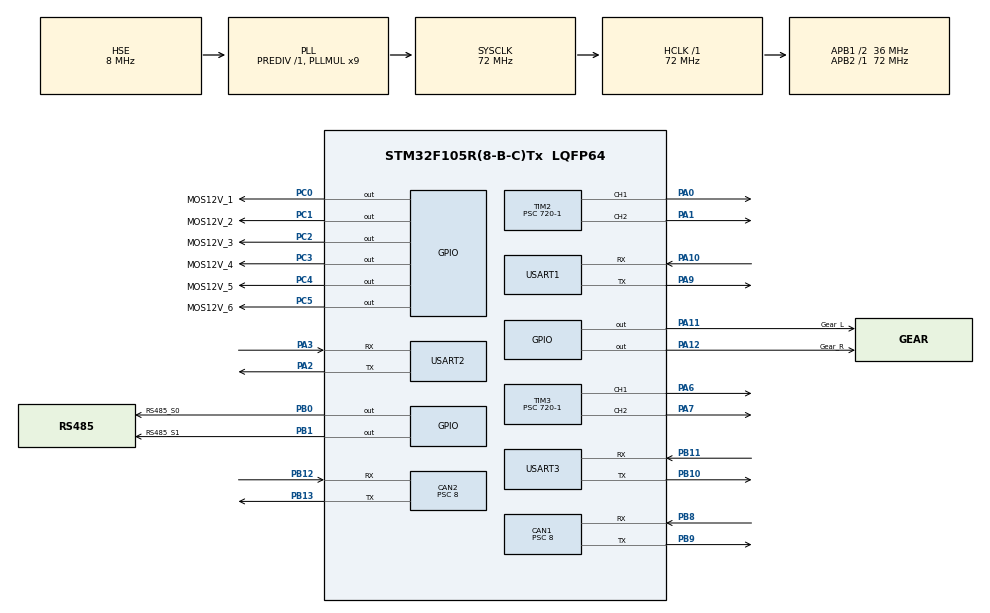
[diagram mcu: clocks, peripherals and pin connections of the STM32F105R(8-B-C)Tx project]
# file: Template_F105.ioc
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CAN1.BS1=CAN_BS1_5TQ
CAN1.BS2=CAN_BS2_3TQ
CAN1.CalculateBaudRate=500000
CAN1.CalculateTimeBit=2000
CAN1.CalculateTimeQuantum=222.22222222222223
CAN1.NART=ENABLE
CAN1.Prescaler=8
CAN2.BS1=CAN_BS1_5TQ
CAN2.BS2=CAN_BS2_3TQ
CAN2.CalculateBaudRate=500000
CAN2.CalculateTimeBit=2000
CAN2.CalculateTimeQuantum=222.22222222222223
CAN2.NART=ENABLE
CAN2.Prescaler=8
Dma.Request0=USART1_RX
Dma.Request1=USART2_RX
Dma.Request2=USART2_TX
Dma.Request3=USART3_RX
Dma.Request4=USART3_TX
Dma.USART1_RX.0.Direction=DMA_PERIPH_TO_MEMORY
Dma.USART1_RX.0.Instance=DMA1_Channel5
Dma.USART1_RX.0.MemDataAlignment=DMA_MDATAALIGN_BYTE
Dma.USART1_RX.0.MemInc=DMA_MINC_ENABLE
Dma.USART1_RX.0.Mode=DMA_CIRCULAR
Dma.USART1_RX.0.PeriphDataAlignment=DMA_PDATAALIGN_BYTE
Dma.USART1_RX.0.PeriphInc=DMA_PINC_DISABLE
Dma.USART1_RX.0.Priority=DMA_PRIORITY_LOW
Dma.USART2_RX.1.Direction=DMA_PERIPH_TO_MEMORY
Dma.USART2_RX.1.Instance=DMA1_Channel6
Dma.USART2_RX.1.MemDataAlignment=DMA_MDATAALIGN_BYTE
Dma.USART2_RX.1.MemInc=DMA_MINC_ENABLE
Dma.USART2_RX.1.Mode=DMA_CIRCULAR
Dma.USART2_RX.1.PeriphDataAlignment=DMA_PDATAALIGN_BYTE
Dma.USART2_RX.1.PeriphInc=DMA_PINC_DISABLE
Dma.USART2_RX.1.Priority=DMA_PRIORITY_LOW
Dma.USART2_TX.2.Direction=DMA_MEMORY_TO_PERIPH
Dma.USART2_TX.2.Instance=DMA1_Channel7
Dma.USART2_TX.2.MemDataAlignment=DMA_MDATAALIGN_BYTE
Dma.USART2_TX.2.MemInc=DMA_MINC_ENABLE
Dma.USART2_TX.2.Mode=DMA_NORMAL
Dma.USART2_TX.2.PeriphDataAlignment=DMA_PDATAALIGN_BYTE
Dma.USART2_TX.2.PeriphInc=DMA_PINC_DISABLE
Dma.USART2_TX.2.Priority=DMA_PRIORITY_LOW
Dma.USART3_RX.3.Direction=DMA_PERIPH_TO_MEMORY
Dma.USART3_RX.3.Instance=DMA1_Channel3
Dma.USART3_RX.3.MemDataAlignment=DMA_MDATAALIGN_BYTE
Dma.USART3_RX.3.MemInc=DMA_MINC_ENABLE
Dma.USART3_RX.3.Mode=DMA_CIRCULAR
Dma.USART3_RX.3.PeriphDataAlignment=DMA_PDATAALIGN_BYTE
Dma.USART3_RX.3.PeriphInc=DMA_PINC_DISABLE
Dma.USART3_RX.3.Priority=DMA_PRIORITY_LOW
Dma.USART3_TX.4.Direction=DMA_MEMORY_TO_PERIPH
Dma.USART3_TX.4.Instance=DMA1_Channel2
Dma.USART3_TX.4.MemDataAlignment=DMA_MDATAALIGN_BYTE
Dma.USART3_TX.4.MemInc=DMA_MINC_ENABLE
Dma.USART3_TX.4.Mode=DMA_NORMAL
Dma.USART3_TX.4.PeriphDataAlignment=DMA_PDATAALIGN_BYTE
Dma.USART3_TX.4.PeriphInc=DMA_PINC_DISABLE
Dma.USART3_TX.4.Priority=DMA_PRIORITY_LOW
FREERTOS.INCLUDE_eTaskGetState=1
FREERTOS.INCLUDE_pcTaskGetTaskName=1
FREERTOS.INCLUDE_uxTaskGetStackHighWaterMark=1
FREERTOS.INCLUDE_vTaskCleanUpResources=1
FREERTOS.INCLUDE_vTaskDelayUntil=1
FREERTOS.INCLUDE_xEventGroupSetBitFromISR=1
FREERTOS.INCLUDE_xQueueGetMutexHolder=1
FREERTOS.INCLUDE_xSemaphoreGetMutexHolder=1
FREERTOS.INCLUDE_xTaskAbortDelay=1
FREERTOS.INCLUDE_xTaskGetCurrentTaskHandle=1
FREERTOS.INCLUDE_xTaskGetHandle=1
FREERTOS.INCLUDE_xTimerPendFunctionCall=1
FREERTOS.Tasks01=chassis,1,512,chassis_task,As weak,NULL,Dynamic,NULL,NULL;detect,0,256,detect_task,As weak,NULL,Dynamic,NULL,NULL;Debug,0,256,Debug_task,As weak,NULL,Dynamic,NULL,NULL;HMI,0,256,HMI_task,As weak,NULL,Dynamic,NULL,NULL
FREERTOS.Timers01=Cycle_S,Cycle__sCallback,osTimerPeriodic,Default,NULL,Dynamic,NULL
FREERTOS.configTOTAL_HEAP_SIZE=8192
FREERTOS.configUSE_TIMERS=1
Mcu.Family=STM32F1
Mcu.Name=STM32F105R(8-B-C)Tx
Mcu.Package=LQFP64
NVIC.CAN1_RX0_IRQn=true\:5\:0\:false\:false\:true\:true\:true\:true\:true
NVIC.CAN2_RX0_IRQn=true\:5\:0\:false\:false\:true\:true\:true\:true\:true
NVIC.DMA1_Channel2_IRQn=true\:5\:0\:false\:false\:true\:true\:false\:true\:true
NVIC.DMA1_Channel3_IRQn=true\:5\:0\:false\:false\:true\:true\:false\:true\:true
NVIC.DMA1_Channel5_IRQn=true\:5\:0\:false\:false\:true\:true\:false\:true\:true
NVIC.DMA1_Channel6_IRQn=true\:5\:0\:false\:false\:true\:true\:false\:true\:true
NVIC.DMA1_Channel7_IRQn=true\:5\:0\:false\:false\:true\:true\:false\:true\:true
NVIC.PriorityGroup=NVIC_PRIORITYGROUP_4
NVIC.TIM6_IRQn=true\:15\:0\:false\:false\:true\:false\:false\:true\:true
NVIC.TimeBase=TIM6_IRQn
NVIC.TimeBaseIP=TIM6
NVIC.USART1_IRQn=true\:4\:0\:true\:false\:true\:false\:true\:true\:true
NVIC.USART2_IRQn=true\:5\:0\:false\:false\:true\:true\:true\:true\:true
NVIC.USART3_IRQn=true\:5\:0\:false\:false\:true\:true\:true\:true\:true
PA0-WKUP.Signal=S_TIM2_CH1_ETR
PA1.Signal=S_TIM2_CH2
PA10.Mode=Asynchronous
PA10.Signal=USART1_RX
PA11.GPIO_Label=Gear_L
PA11.GPIO_PuPd=GPIO_PULLDOWN
PA11.Signal=GPIO_Output
PA12.GPIO_Label=Gear_R
PA12.GPIO_PuPd=GPIO_PULLDOWN
PA12.Signal=GPIO_Output
PA13.Mode=Serial_Wire
PA13.Signal=SYS_JTMS-SWDIO
PA14.Mode=Serial_Wire
PA14.Signal=SYS_JTCK-SWCLK
PA2.Mode=Asynchronous
PA2.Signal=USART2_TX
PA3.Mode=Asynchronous
PA3.Signal=USART2_RX
PA6.Signal=S_TIM3_CH1
PA7.Signal=S_TIM3_CH2
PA9.Mode=Asynchronous
PA9.Signal=USART1_TX
PB0.GPIO_Label=RS485_S0
PB0.GPIO_Speed=GPIO_SPEED_FREQ_MEDIUM
PB0.Signal=GPIO_Output
PB1.GPIO_Label=RS485_S1
PB1.GPIO_Speed=GPIO_SPEED_FREQ_MEDIUM
PB1.Signal=GPIO_Output
PB10.Mode=Asynchronous
PB10.Signal=USART3_TX
PB11.Mode=Asynchronous
PB11.Signal=USART3_RX
PB12.Mode=CAN_Activate
PB12.Signal=CAN2_RX
PB13.Mode=CAN_Activate
PB13.Signal=CAN2_TX
PB8.Mode=CAN_Activate
PB8.Signal=CAN1_RX
PB9.Mode=CAN_Activate
PB9.Signal=CAN1_TX
PC0.GPIO_Label=MOS12V_1
PC0.GPIO_PuPd=GPIO_PULLUP
PC0.Signal=GPIO_Output
PC1.GPIO_Label=MOS12V_2
PC1.GPIO_PuPd=GPIO_PULLUP
PC1.Signal=GPIO_Output
PC2.GPIO_Label=MOS12V_3
PC2.GPIO_PuPd=GPIO_PULLUP
PC2.Signal=GPIO_Output
PC3.GPIO_Label=MOS12V_4
PC3.GPIO_PuPd=GPIO_PULLUP
PC3.Signal=GPIO_Output
PC4.GPIO_Label=MOS12V_5
PC4.GPIO_PuPd=GPIO_PULLUP
PC4.Signal=GPIO_Output
PC5.GPIO_Label=MOS12V_6
PC5.GPIO_PuPd=GPIO_PULLUP
PC5.Signal=GPIO_Output
PD0-OSC_IN.Mode=HSE-External-Oscillator
PD0-OSC_IN.Signal=RCC_OSC_IN
PD1-OSC_OUT.Mode=HSE-External-Oscillator
PD1-OSC_OUT.Signal=RCC_OSC_OUT
ProjectManager.HeapSize=0x200
ProjectManager.StackSize=0x400
ProjectManager.TargetToolchain=MDK-ARM V5.32
RCC.AHBFreq_Value=72000000
RCC.APB1CLKDivider=RCC_HCLK_DIV2
RCC.APB1Freq_Value=36000000
RCC.APB1TimFreq_Value=72000000
RCC.APB2Freq_Value=72000000
RCC.APB2TimFreq_Value=72000000
RCC.HCLKFreq_Value=72000000
RCC.PLLMUL=RCC_PLL_MUL9
RCC.PLLSourceVirtual=RCC_PLLSOURCE_HSE
RCC.SYSCLKFreq_VALUE=72000000
RCC.SYSCLKSource=RCC_SYSCLKSOURCE_PLLCLK
RCC.USBFreq_Value=48000000
SH.S_TIM2_CH1_ETR.0=TIM2_CH1,PWM Generation1 CH1
SH.S_TIM2_CH2.0=TIM2_CH2,PWM Generation2 CH2
SH.S_TIM3_CH1.0=TIM3_CH1,PWM Generation1 CH1
SH.S_TIM3_CH2.0=TIM3_CH2,PWM Generation2 CH2
TIM2.AutoReloadPreload=TIM_AUTORELOAD_PRELOAD_DISABLE
TIM2.Channel-PWM\ Generation1\ CH1=TIM_CHANNEL_1
TIM2.Channel-PWM\ Generation2\ CH2=TIM_CHANNEL_2
TIM2.Period=2000-1
TIM2.Prescaler=720-1
TIM3.Channel-PWM\ Generation1\ CH1=TIM_CHANNEL_1
TIM3.Channel-PWM\ Generation2\ CH2=TIM_CHANNEL_2
TIM3.Period=2000-1
TIM3.Prescaler=720-1
USART1.VirtualMode=VM_ASYNC
USART2.VirtualMode=VM_ASYNC
USART3.VirtualMode=VM_ASYNC
VP_FREERTOS_VS_CMSIS_V1.Mode=CMSIS_V1
VP_SYS_VS_tim6.Mode=TIM6
VP_TIM2_VS_ClockSourceINT.Mode=Internal
VP_TIM3_VS_ClockSourceINT.Mode=Internal
board=custom

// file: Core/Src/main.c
/* USER CODE BEGIN Header */
/**
  ******************************************************************************
  * @file           : main.c
  * @brief          : Main program body
  ******************************************************************************
  * @attention
  *
  * Copyright (c) 2022 STMicroelectronics.
  * All rights reserved.
  *
  * This software is licensed under terms that can be found in the LICENSE file
  * in the root directory of this software component.
  * If no LICENSE file comes with this software, it is provided AS-IS.
  *
  ******************************************************************************
  */
/* USER CODE END Header */
#include "main.h"
#include "cmsis_os.h"
#include "can.h"
#include "dma.h"
#include "tim.h"
#include "usart.h"
#include "gpio.h"

/* USER CODE BEGIN Includes */
#include "Template.h"
#include "remote_control.h"
#include "CAN_receive.h"
/* USER CODE END Includes */

void SystemClock_Config(void);
void MX_FREERTOS_Init(void);

int main(void)
{

  /* MCU Configuration--------------------------------------------------------*/

  /* Reset of all peripherals, Initializes the Flash interface and the Systick. */
  HAL_Init();

  /* Configure the system clock */
  SystemClock_Config();

  /* Initialize all configured peripherals */
  MX_GPIO_Init();
  MX_DMA_Init();
  MX_CAN1_Init();
  MX_CAN2_Init();
  MX_TIM2_Init();
  MX_USART1_UART_Init();
  MX_USART2_UART_Init();
  MX_USART3_UART_Init();
  MX_TIM3_Init();
  /* USER CODE BEGIN 2 */
  remote_control_init();
	RS485_Fun_init();
	can_filter_init();

	#if (PWM1_flag == 1)||(PWM2_flag == 1)
		HAL_TIM_Base_Start_IT(&htim2);
	#endif
	#if PWM1_flag == 1
		HAL_TIM_PWM_Start(&htim2,TIM_CHANNEL_1);
	#endif
	#if PWM2_flag == 1
		HAL_TIM_PWM_Start(&htim2,TIM_CHANNEL_2);
	#endif

	#if (PWM3_flag == 1)||(PWM4_flag == 1)
		HAL_TIM_Base_Start_IT(&htim3);
	#endif
	#if PWM3_flag == 1
		HAL_TIM_PWM_Start(&htim3,TIM_CHANNEL_1);
	#endif
	#if PWM4_flag == 1
		HAL_TIM_PWM_Start(&htim3,TIM_CHANNEL_2);
	#endif

  /* USER CODE END 2 */

  /* Call init function for freertos objects (in freertos.c) */
  MX_FREERTOS_Init();

  /* Start scheduler */
  osKernelStart();

  /* We should never get here as control is now taken by the scheduler */
  /* Infinite loop */
  while (1)
  {

  }
}

void SystemClock_Config(void)
{
  RCC_OscInitTypeDef RCC_OscInitStruct = {0};
  RCC_ClkInitTypeDef RCC_ClkInitStruct = {0};

  /** Initializes the RCC Oscillators according to the specified parameters
  * in the RCC_OscInitTypeDef structure.
  */
  RCC_OscInitStruct.OscillatorType = RCC_OSCILLATORTYPE_HSE;
  RCC_OscInitStruct.HSEState = RCC_HSE_ON;
  RCC_OscInitStruct.HSEPredivValue = RCC_HSE_PREDIV_DIV1;
  RCC_OscInitStruct.HSIState = RCC_HSI_ON;
  RCC_OscInitStruct.Prediv1Source = RCC_PREDIV1_SOURCE_HSE;
  RCC_OscInitStruct.PLL.PLLState = RCC_PLL_ON;
  RCC_OscInitStruct.PLL.PLLSource = RCC_PLLSOURCE_HSE;
  RCC_OscInitStruct.PLL.PLLMUL = RCC_PLL_MUL9;
  RCC_OscInitStruct.PLL2.PLL2State = RCC_PLL_NONE;
  if (HAL_RCC_OscConfig(&RCC_OscInitStruct) != HAL_OK)
  {
    Error_Handler();
  }

  /** Initializes the CPU, AHB and APB buses clocks
  */
  RCC_ClkInitStruct.ClockType = RCC_CLOCKTYPE_HCLK|RCC_CLOCKTYPE_SYSCLK
                              |RCC_CLOCKTYPE_PCLK1|RCC_CLOCKTYPE_PCLK2;
  RCC_ClkInitStruct.SYSCLKSource = RCC_SYSCLKSOURCE_PLLCLK;
  RCC_ClkInitStruct.AHBCLKDivider = RCC_SYSCLK_DIV1;
  RCC_ClkInitStruct.APB1CLKDivider = RCC_HCLK_DIV2;
  RCC_ClkInitStruct.APB2CLKDivider = RCC_HCLK_DIV1;

  if (HAL_RCC_ClockConfig(&RCC_ClkInitStruct, FLASH_LATENCY_2) != HAL_OK)
  {
    Error_Handler();
  }

  /** Configure the Systick interrupt time
  */
  __HAL_RCC_PLLI2S_ENABLE();
}

void HAL_TIM_PeriodElapsedCallback(TIM_HandleTypeDef *htim)
{
  if (htim->Instance == TIM6) {
    HAL_IncTick();
  }
}

void Error_Handler(void)
{
  __disable_irq();
  while (1)
  {
  }
}

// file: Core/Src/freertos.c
/* USER CODE BEGIN Header */
/**
  ******************************************************************************
  * File Name          : freertos.c
  * Description        : Code for freertos applications
  ******************************************************************************
  * @attention
  *
  * Copyright (c) 2022 STMicroelectronics.
  * All rights reserved.
  *
  * This software is licensed under terms that can be found in the LICENSE file
  * in the root directory of this software component.
  * If no LICENSE file comes with this software, it is provided AS-IS.
  *
  ******************************************************************************
  */
/* USER CODE END Header */

#include "FreeRTOS.h"
#include "task.h"
#include "main.h"
#include "cmsis_os.h"

osThreadId chassisHandle;
osThreadId detectHandle;
osThreadId DebugHandle;
osThreadId HMIHandle;
osTimerId Cycle_SHandle;

void chassis_task(void const * argument);
void detect_task(void const * argument);
void Debug_task(void const * argument);
void HMI_task(void const * argument);
void Cycle__sCallback(void const * argument);

void MX_FREERTOS_Init(void); /* (MISRA C 2004 rule 8.1) */

/* GetIdleTaskMemory prototype (linked to static allocation support) */
void vApplicationGetIdleTaskMemory( StaticTask_t **ppxIdleTaskTCBBuffer, StackType_t **ppxIdleTaskStackBuffer, uint32_t *pulIdleTaskStackSize );

/* GetTimerTaskMemory prototype (linked to static allocation support) */
void vApplicationGetTimerTaskMemory( StaticTask_t **ppxTimerTaskTCBBuffer, StackType_t **ppxTimerTaskStackBuffer, uint32_t *pulTimerTaskStackSize );

/* USER CODE BEGIN GET_IDLE_TASK_MEMORY */
static StaticTask_t xIdleTaskTCBBuffer;
static StackType_t xIdleStack[configMINIMAL_STACK_SIZE];

void vApplicationGetIdleTaskMemory( StaticTask_t **ppxIdleTaskTCBBuffer, StackType_t **ppxIdleTaskStackBuffer, uint32_t *pulIdleTaskStackSize )
{
  *ppxIdleTaskTCBBuffer = &xIdleTaskTCBBuffer;
  *ppxIdleTaskStackBuffer = &xIdleStack[0];
  *pulIdleTaskStackSize = configMINIMAL_STACK_SIZE;
  /* place for user code */
}
/* USER CODE END GET_IDLE_TASK_MEMORY */

/* USER CODE BEGIN GET_TIMER_TASK_MEMORY */
static StaticTask_t xTimerTaskTCBBuffer;
static StackType_t xTimerStack[configTIMER_TASK_STACK_DEPTH];

void vApplicationGetTimerTaskMemory( StaticTask_t **ppxTimerTaskTCBBuffer, StackType_t **ppxTimerTaskStackBuffer, uint32_t *pulTimerTaskStackSize )
{
  *ppxTimerTaskTCBBuffer = &xTimerTaskTCBBuffer;
  *ppxTimerTaskStackBuffer = &xTimerStack[0];
  *pulTimerTaskStackSize = configTIMER_TASK_STACK_DEPTH;
  /* place for user code */
}
/* USER CODE END GET_TIMER_TASK_MEMORY */

void MX_FREERTOS_Init(void) {

  /* Create the timer(s) */
  /* definition and creation of Cycle_S */
  osTimerDef(Cycle_S, Cycle__sCallback);
  Cycle_SHandle = osTimerCreate(osTimer(Cycle_S), osTimerPeriodic, NULL);

  /* Create the thread(s) */
  /* definition and creation of chassis */
  osThreadDef(chassis, chassis_task, osPriorityAboveNormal, 0, 512);
  chassisHandle = osThreadCreate(osThread(chassis), NULL);

  /* definition and creation of detect */
  osThreadDef(detect, detect_task, osPriorityNormal, 0, 256);
  detectHandle = osThreadCreate(osThread(detect), NULL);

  /* definition and creation of Debug */
  osThreadDef(Debug, Debug_task, osPriorityNormal, 0, 256);
  DebugHandle = osThreadCreate(osThread(Debug), NULL);

  /* definition and creation of HMI */
  osThreadDef(HMI, HMI_task, osPriorityNormal, 0, 256);
  HMIHandle = osThreadCreate(osThread(HMI), NULL);

}

__weak void chassis_task(void const * argument)
{
  for(;;)
  {
    osDelay(1);
  }
}

__weak void detect_task(void const * argument)
{
  for(;;)
  {
    osDelay(1);
  }
}

__weak void Debug_task(void const * argument)
{
  for(;;)
  {
    osDelay(1);
  }
}

__weak void HMI_task(void const * argument)
{
  for(;;)
  {
    osDelay(1);
  }
}

/* Cycle__sCallback function */
void Cycle__sCallback(void const * argument)
{
}
